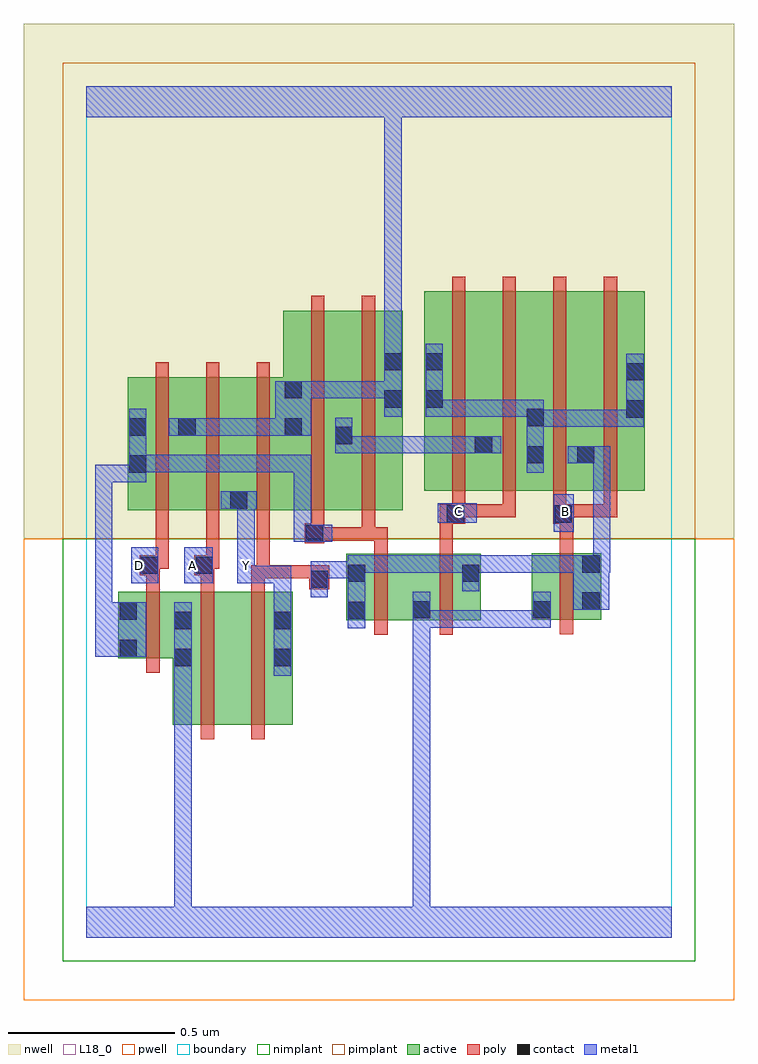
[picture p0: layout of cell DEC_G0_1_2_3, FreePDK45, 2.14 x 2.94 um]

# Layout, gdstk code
import gdstk
lib = gdstk.Library(unit=1e-6, precision=1e-09)
def R(c, l, rs):  # rectangles x0, y0, x1, y1
    for r in rs: c.add(gdstk.rectangle(r[:2], r[2:], *l))
def A(c, l, x, y, w, h, nx, ny, dx, dy):  # array of equal rectangles
    R(c, l, [(x+i*dx, y+j*dy, x+i*dx+w, y+j*dy+h) for i in range(nx) for j in range(ny)])
active = (1, 0)
pwell = (2, 0)
nwell = (3, 0)
nimplant = (4, 0)
pimplant = (5, 0)
poly = (9, 0)
contact = (10, 0)
metal1 = (11, 0)
L18_0 = (18, 0)
boundary = (235, 0)

dec_g0_1_2_3 = lib.new_cell('DEC_G0_1_2_3')
R(dec_g0_1_2_3, active, [(0.26,0.64,0.44,1.04), (0.44,0.64,0.62,1.04), (0.56,0.756,0.62,1.04), (0.26,0.812,0.32,0.984), (0.096,0.84,0.156,1.04), (0.096,0.84,0.32,1.04), (0.782,0.954,0.842,1.154), (0.782,0.954,1.038,1.154), (0.978,0.954,1.186,1.154), (0.978,0.954,1.038,1.09), (1.126,0.954,1.186,1.154), (1.34,0.956,1.4,1.156), (1.34,0.956,1.548,1.156), (1.488,0.956,1.548,1.156), (0.124,1.286,0.332,1.686), (0.124,1.286,0.184,1.686), (0.272,1.286,0.488,1.686), (0.428,1.286,0.652,1.686), (0.428,1.286,0.488,1.644), (0.592,1.286,0.804,1.886), (0.744,1.286,0.952,1.886), (0.892,1.286,0.952,1.886), (1.016,1.344,1.076,1.944), (1.016,1.344,1.224,1.944), (1.164,1.344,1.38,1.944), (1.32,1.344,1.38,1.944), (1.32,1.344,1.532,1.944), (1.472,1.344,1.68,1.944), (1.62,1.344,1.68,1.944), (1.472,1.422,1.532,1.844), (1.164,1.452,1.224,1.844), (0.744,1.48,0.804,1.844), (0.272,1.506,0.332,1.644), (0.592,1.506,0.652,1.708)])
R(dec_g0_1_2_3, pwell, [(-0.188,-0.188,1.948,1.2)])
R(dec_g0_1_2_3, nwell, [(-0.188,1.2,1.948,2.748)])
R(dec_g0_1_2_3, nimplant, [(-0.072,-0.072,1.832,1.2)])
R(dec_g0_1_2_3, pimplant, [(-0.072,1.2,1.832,2.632)])
A(dec_g0_1_2_3, poly, 0.208, 1.242, 0.04, 0.488, 3, 1, 0.152, 0)
A(dec_g0_1_2_3, poly, 1.1, 1.264, 0.04, 0.076, 4, 1, 0.152, 0)
A(dec_g0_1_2_3, poly, 1.1, 1.3, 0.04, 0.688, 4, 1, 0.152, 0)
R(dec_g0_1_2_3, poly, [(0.344,0.596,0.384,1.084), (0.496,0.596,0.536,1.084), (0.18,0.796,0.22,1.084), (0.866,0.91,0.906,1.198), (1.062,0.91,1.102,1.198), (1.424,0.912,1.464,1.2), (0.18,1.044,0.22,1.13), (0.344,1.044,0.384,1.13), (0.496,1.044,0.536,1.12), (0.67,1.048,0.73,1.12), (0.496,1.08,0.552,1.12), (0.512,1.08,0.552,1.12), (0.512,1.08,0.552,1.12), (0.512,1.08,0.552,1.12), (0.512,1.08,0.552,1.12), (0.512,1.08,0.71,1.12), (0.512,1.08,0.552,1.282), (0.16,1.09,0.22,1.15), (0.324,1.09,0.384,1.15), (0.18,1.11,0.22,1.15), (0.18,1.11,0.248,1.15), (0.208,1.11,0.248,1.282), (0.344,1.11,0.384,1.15), (0.344,1.11,0.4,1.15), (0.36,1.11,0.4,1.282), (0.866,1.158,0.906,1.234), (1.062,1.158,1.102,1.284), (1.424,1.16,1.464,1.284), (0.656,1.186,0.716,1.246), (0.676,1.194,0.868,1.234), (0.828,1.194,0.868,1.234), (0.828,1.194,0.868,1.234), (0.828,1.194,0.868,1.282), (0.828,1.194,0.906,1.234), (0.866,1.194,0.906,1.234), (0.866,1.194,0.906,1.234), (0.676,1.206,0.716,1.282), (0.676,1.242,0.716,1.93), (0.828,1.242,0.868,1.93), (1.062,1.244,1.14,1.304), (1.404,1.244,1.464,1.304), (1.424,1.244,1.464,1.284), (1.424,1.244,1.464,1.284), (1.1,1.264,1.14,1.304), (1.1,1.264,1.14,1.304), (1.1,1.264,1.292,1.304), (1.252,1.264,1.292,1.304), (1.252,1.264,1.292,1.304), (1.252,1.264,1.292,1.304), (1.424,1.264,1.596,1.304), (1.424,1.264,1.464,1.304), (1.424,1.264,1.464,1.304), (1.556,1.264,1.596,1.304)])
R(dec_g0_1_2_3, contact, [(0.264,0.816,0.316,0.868), (0.564,0.816,0.616,0.868), (0.1,0.844,0.152,0.896), (0.264,0.928,0.316,0.98), (0.564,0.928,0.616,0.98), (0.1,0.956,0.152,1.008), (0.786,0.958,0.838,1.01), (0.982,0.96,1.034,1.012), (1.344,0.96,1.396,1.012), (1.492,0.986,1.544,1.038), (0.674,1.052,0.726,1.104), (0.786,1.07,0.838,1.122), (1.13,1.07,1.182,1.122), (0.164,1.094,0.216,1.146), (0.328,1.094,0.38,1.146), (1.492,1.098,1.544,1.15), (0.66,1.19,0.712,1.242), (1.084,1.248,1.136,1.3), (1.408,1.248,1.46,1.3), (0.432,1.29,0.484,1.342), (0.128,1.398,0.18,1.45), (1.324,1.426,1.376,1.478), (1.476,1.426,1.528,1.478), (1.168,1.456,1.22,1.508), (0.748,1.484,0.8,1.536), (0.128,1.51,0.18,1.562), (0.276,1.51,0.328,1.562), (0.596,1.51,0.648,1.562), (1.324,1.538,1.376,1.59), (1.624,1.564,1.676,1.616), (0.896,1.594,0.948,1.646), (1.02,1.594,1.072,1.646), (0.596,1.622,0.648,1.674), (1.624,1.676,1.676,1.728), (0.896,1.706,0.948,1.758), (1.02,1.706,1.072,1.758)])
R(dec_g0_1_2_3, metal1, [(0,0,1.76,0.092), (0.264,0.04,0.316,0.092), (0.264,0.04,0.316,0.092), (0.264,0.04,0.316,0.092), (0.264,0.04,0.316,0.092), (0.264,0.04,0.316,0.092), (0.264,0.04,0.316,0.092), (0.264,0.04,0.316,0.84), (0.982,0.04,1.034,0.092), (0.982,0.04,1.034,0.092), (0.982,0.04,1.034,0.092), (0.982,0.04,1.034,0.092), (0.982,0.04,1.034,0.092), (0.982,0.04,1.034,0.092), (0.982,0.04,1.034,0.092), (0.982,0.04,1.034,0.092), (0.982,0.04,1.034,0.092), (0.982,0.04,1.034,0.092), (0.982,0.04,1.034,0.092), (0.982,0.04,1.034,0.092), (0.982,0.04,1.034,0.092), (0.982,0.04,1.034,0.092), (0.982,0.04,1.034,0.984), (0.264,0.788,0.316,0.84), (0.264,0.788,0.316,0.84), (0.264,0.788,0.316,0.84), (0.264,0.788,0.316,0.84), (0.264,0.788,0.316,0.84), (0.264,0.788,0.316,0.84), (0.264,0.788,0.316,1.008), (0.564,0.788,0.616,1.008), (0.026,0.844,0.18,1.008), (0.786,0.93,0.838,1.15), (0.982,0.932,1.034,0.984), (0.982,0.932,1.034,0.984), (0.982,0.932,1.034,1.04), (0.982,0.932,1.058,0.984), (1.006,0.932,1.058,0.984), (1.006,0.932,1.266,0.984), (1.214,0.932,1.266,0.984), (1.214,0.932,1.266,0.984), (1.214,0.932,1.266,0.984), (1.214,0.932,1.396,0.984), (1.344,0.932,1.396,1.04), (0.026,0.956,0.078,1.422), (0.564,0.956,0.616,1.118), (1.464,0.986,1.572,1.15), (0.674,1.024,0.726,1.132), (1.13,1.042,1.182,1.15), (0.134,1.066,0.216,1.174), (0.294,1.066,0.38,1.174), (0.454,1.066,0.506,1.118), (0.454,1.066,0.506,1.118), (0.454,1.066,0.616,1.118), (0.454,1.066,0.506,1.174), (0.564,1.066,0.616,1.118), (0.674,1.08,0.838,1.132), (0.786,1.08,0.838,1.15), (0.786,1.098,0.838,1.15), (0.786,1.098,0.896,1.15), (0.844,1.098,0.896,1.15), (0.844,1.098,0.948,1.15), (0.896,1.098,0.948,1.15), (0.896,1.098,1.068,1.15), (1.016,1.098,1.068,1.15), (1.016,1.098,1.068,1.15), (1.016,1.098,1.068,1.15), (1.016,1.098,1.182,1.15), (1.13,1.098,1.182,1.15), (1.13,1.098,1.182,1.15), (1.13,1.098,1.376,1.15), (1.324,1.098,1.376,1.15), (1.324,1.098,1.516,1.15), (1.464,1.098,1.516,1.15), (1.464,1.098,1.516,1.15), (1.52,1.098,1.572,1.15), (1.52,1.098,1.576,1.15), (1.524,1.098,1.576,1.15), (1.524,1.098,1.576,1.15), (1.524,1.098,1.576,1.478), (0.454,1.122,0.506,1.174), (0.454,1.122,0.506,1.174), (0.454,1.122,0.506,1.342), (0.624,1.19,0.676,1.242), (0.624,1.19,0.684,1.242), (0.624,1.19,0.676,1.452), (0.632,1.19,0.74,1.242), (1.406,1.22,1.466,1.334), (1.056,1.248,1.174,1.306), (0.404,1.29,0.512,1.342), (0.026,1.37,0.078,1.422), (0.026,1.37,0.078,1.422), (0.026,1.37,0.18,1.422), (0.128,1.37,0.18,1.422), (0.128,1.37,0.18,1.59), (1.324,1.398,1.376,1.618), (0.128,1.4,0.18,1.452), (0.128,1.4,0.18,1.452), (0.128,1.4,0.346,1.452), (0.294,1.4,0.346,1.452), (0.294,1.4,0.346,1.452), (0.294,1.4,0.346,1.452), (0.294,1.4,0.346,1.452), (0.294,1.4,0.346,1.452), (0.294,1.4,0.506,1.452), (0.454,1.4,0.506,1.452), (0.454,1.4,0.506,1.452), (0.454,1.4,0.506,1.452), (0.454,1.4,0.676,1.452), (0.624,1.4,0.676,1.452), (0.624,1.4,0.676,1.452), (0.624,1.4,0.676,1.452), (1.448,1.426,1.576,1.478), (0.748,1.456,0.8,1.564), (0.748,1.456,0.924,1.508), (0.872,1.456,0.924,1.508), (0.872,1.456,0.948,1.508), (0.896,1.456,0.948,1.508), (0.896,1.456,1.072,1.508), (1.02,1.456,1.072,1.508), (1.02,1.456,1.072,1.508), (1.02,1.456,1.072,1.508), (1.02,1.456,1.192,1.508), (1.14,1.456,1.248,1.508), (0.248,1.51,0.356,1.562), (0.294,1.51,0.346,1.562), (0.294,1.51,0.346,1.562), (0.294,1.51,0.346,1.562), (0.294,1.51,0.346,1.562), (0.294,1.51,0.346,1.562), (0.294,1.51,0.346,1.562), (0.294,1.51,0.49,1.562), (0.438,1.51,0.49,1.562), (0.438,1.51,0.49,1.562), (0.438,1.51,0.49,1.562), (0.438,1.51,0.62,1.562), (0.568,1.51,0.676,1.674), (1.324,1.536,1.486,1.588), (1.434,1.536,1.486,1.588), (1.434,1.536,1.486,1.588), (1.434,1.536,1.486,1.588), (1.434,1.536,1.676,1.588), (1.624,1.536,1.676,1.588), (1.624,1.536,1.676,1.588), (1.624,1.536,1.676,1.756), (0.896,1.566,0.948,1.786), (1.02,1.566,1.072,1.618), (1.02,1.566,1.072,1.618), (1.02,1.566,1.072,1.786), (1.02,1.566,1.182,1.618), (1.13,1.566,1.182,1.618), (1.13,1.566,1.182,1.618), (1.13,1.566,1.182,1.618), (1.13,1.566,1.376,1.618), (0.624,1.622,0.786,1.674), (0.734,1.622,0.786,1.674), (0.734,1.622,0.786,1.674), (0.734,1.622,0.786,1.674), (0.734,1.622,0.924,1.674), (0.872,1.622,0.924,1.674), (0.872,1.622,0.948,1.674), (0.896,1.734,0.948,1.786), (0.896,1.734,0.948,1.786), (0.896,1.734,0.948,1.786), (0.896,1.734,0.948,1.786), (0.896,1.734,0.948,1.786), (0.896,1.734,0.948,1.786), (0.896,1.734,0.948,1.786), (0.896,1.734,0.948,1.786), (0.896,1.734,0.948,2.52), (0,2.468,1.76,2.56), (0.896,2.468,0.948,2.52), (0.896,2.468,0.948,2.52), (0.896,2.468,0.948,2.52), (0.896,2.468,0.948,2.52)])
A(dec_g0_1_2_3, L18_0, 0.134, 1.094, 0.052, 0.052, 3, 1, 0.16, 0)
R(dec_g0_1_2_3, L18_0, [(0,0,1.76,0.092), (0.264,0.04,0.316,0.092), (0.264,0.04,0.316,0.092), (0.264,0.04,0.316,0.092), (0.264,0.04,0.316,0.092), (0.264,0.04,0.316,0.092), (0.264,0.04,0.316,0.092), (0.264,0.04,0.316,0.84), (0.982,0.04,1.034,0.092), (0.982,0.04,1.034,0.092), (0.982,0.04,1.034,0.092), (0.982,0.04,1.034,0.092), (0.982,0.04,1.034,0.092), (0.982,0.04,1.034,0.092), (0.982,0.04,1.034,0.092), (0.982,0.04,1.034,0.092), (0.982,0.04,1.034,0.092), (0.982,0.04,1.034,0.092), (0.982,0.04,1.034,0.092), (0.982,0.04,1.034,0.092), (0.982,0.04,1.034,0.092), (0.982,0.04,1.034,0.092), (0.982,0.04,1.034,0.984), (0.264,0.788,0.316,0.84), (0.264,0.788,0.316,0.84), (0.264,0.788,0.316,0.84), (0.264,0.788,0.316,0.84), (0.264,0.788,0.316,0.84), (0.264,0.788,0.316,0.84), (0.264,0.788,0.316,1.008), (0.564,0.788,0.616,1.008), (0.982,0.932,1.034,0.984), (0.982,0.932,1.034,0.984), (0.982,0.932,1.034,1.04), (0.982,0.932,1.058,0.984), (1.006,0.932,1.058,0.984), (1.006,0.932,1.266,0.984), (1.214,0.932,1.266,0.984), (1.214,0.932,1.266,0.984), (1.214,0.932,1.266,0.984), (1.214,0.932,1.396,0.984), (1.344,0.932,1.396,1.04), (0.564,0.956,0.616,1.118), (0.134,1.066,0.216,1.174), (0.294,1.066,0.38,1.174), (0.454,1.066,0.506,1.118), (0.454,1.066,0.506,1.118), (0.454,1.066,0.506,1.174), (0.454,1.066,0.616,1.118), (0.564,1.066,0.616,1.118), (0.454,1.122,0.506,1.174), (0.454,1.122,0.506,1.174), (0.454,1.122,0.506,1.342), (1.406,1.22,1.466,1.334), (1.056,1.248,1.174,1.306), (1.094,1.254,1.146,1.306), (1.414,1.254,1.466,1.306), (0.404,1.29,0.512,1.342), (0.248,1.51,0.356,1.562), (0.294,1.51,0.346,1.562), (0.294,1.51,0.346,1.562), (0.294,1.51,0.346,1.562), (0.294,1.51,0.346,1.562), (0.294,1.51,0.346,1.562), (0.294,1.51,0.346,1.562), (0.294,1.51,0.49,1.562), (0.438,1.51,0.49,1.562), (0.438,1.51,0.49,1.562), (0.438,1.51,0.49,1.562), (0.438,1.51,0.62,1.562), (0.568,1.51,0.676,1.674), (0.896,1.566,0.948,1.786), (0.624,1.622,0.786,1.674), (0.734,1.622,0.786,1.674), (0.734,1.622,0.786,1.674), (0.734,1.622,0.786,1.674), (0.734,1.622,0.924,1.674), (0.872,1.622,0.924,1.674), (0.872,1.622,0.948,1.674), (0.896,1.734,0.948,1.786), (0.896,1.734,0.948,1.786), (0.896,1.734,0.948,1.786), (0.896,1.734,0.948,1.786), (0.896,1.734,0.948,1.786), (0.896,1.734,0.948,1.786), (0.896,1.734,0.948,1.786), (0.896,1.734,0.948,1.786), (0.896,1.734,0.948,2.52), (0,2.468,1.76,2.56), (0.896,2.468,0.948,2.52), (0.896,2.468,0.948,2.52), (0.896,2.468,0.948,2.52), (0.896,2.468,0.948,2.52)])
R(dec_g0_1_2_3, boundary, [(0,0,1.76,2.56)])
dec_g0_1_2_3.add(gdstk.Label('A', (0.32,1.12), layer=11, texttype=0))
dec_g0_1_2_3.add(gdstk.Label('B', (1.44,1.28), layer=11, texttype=0))
dec_g0_1_2_3.add(gdstk.Label('C', (1.12,1.28), layer=11, texttype=0))
dec_g0_1_2_3.add(gdstk.Label('D', (0.16,1.12), layer=11, texttype=0))
dec_g0_1_2_3.add(gdstk.Label('Y', (0.48,1.12), layer=11, texttype=0))

lib.write_gds('DEC_G0_1_2_3.gds')
